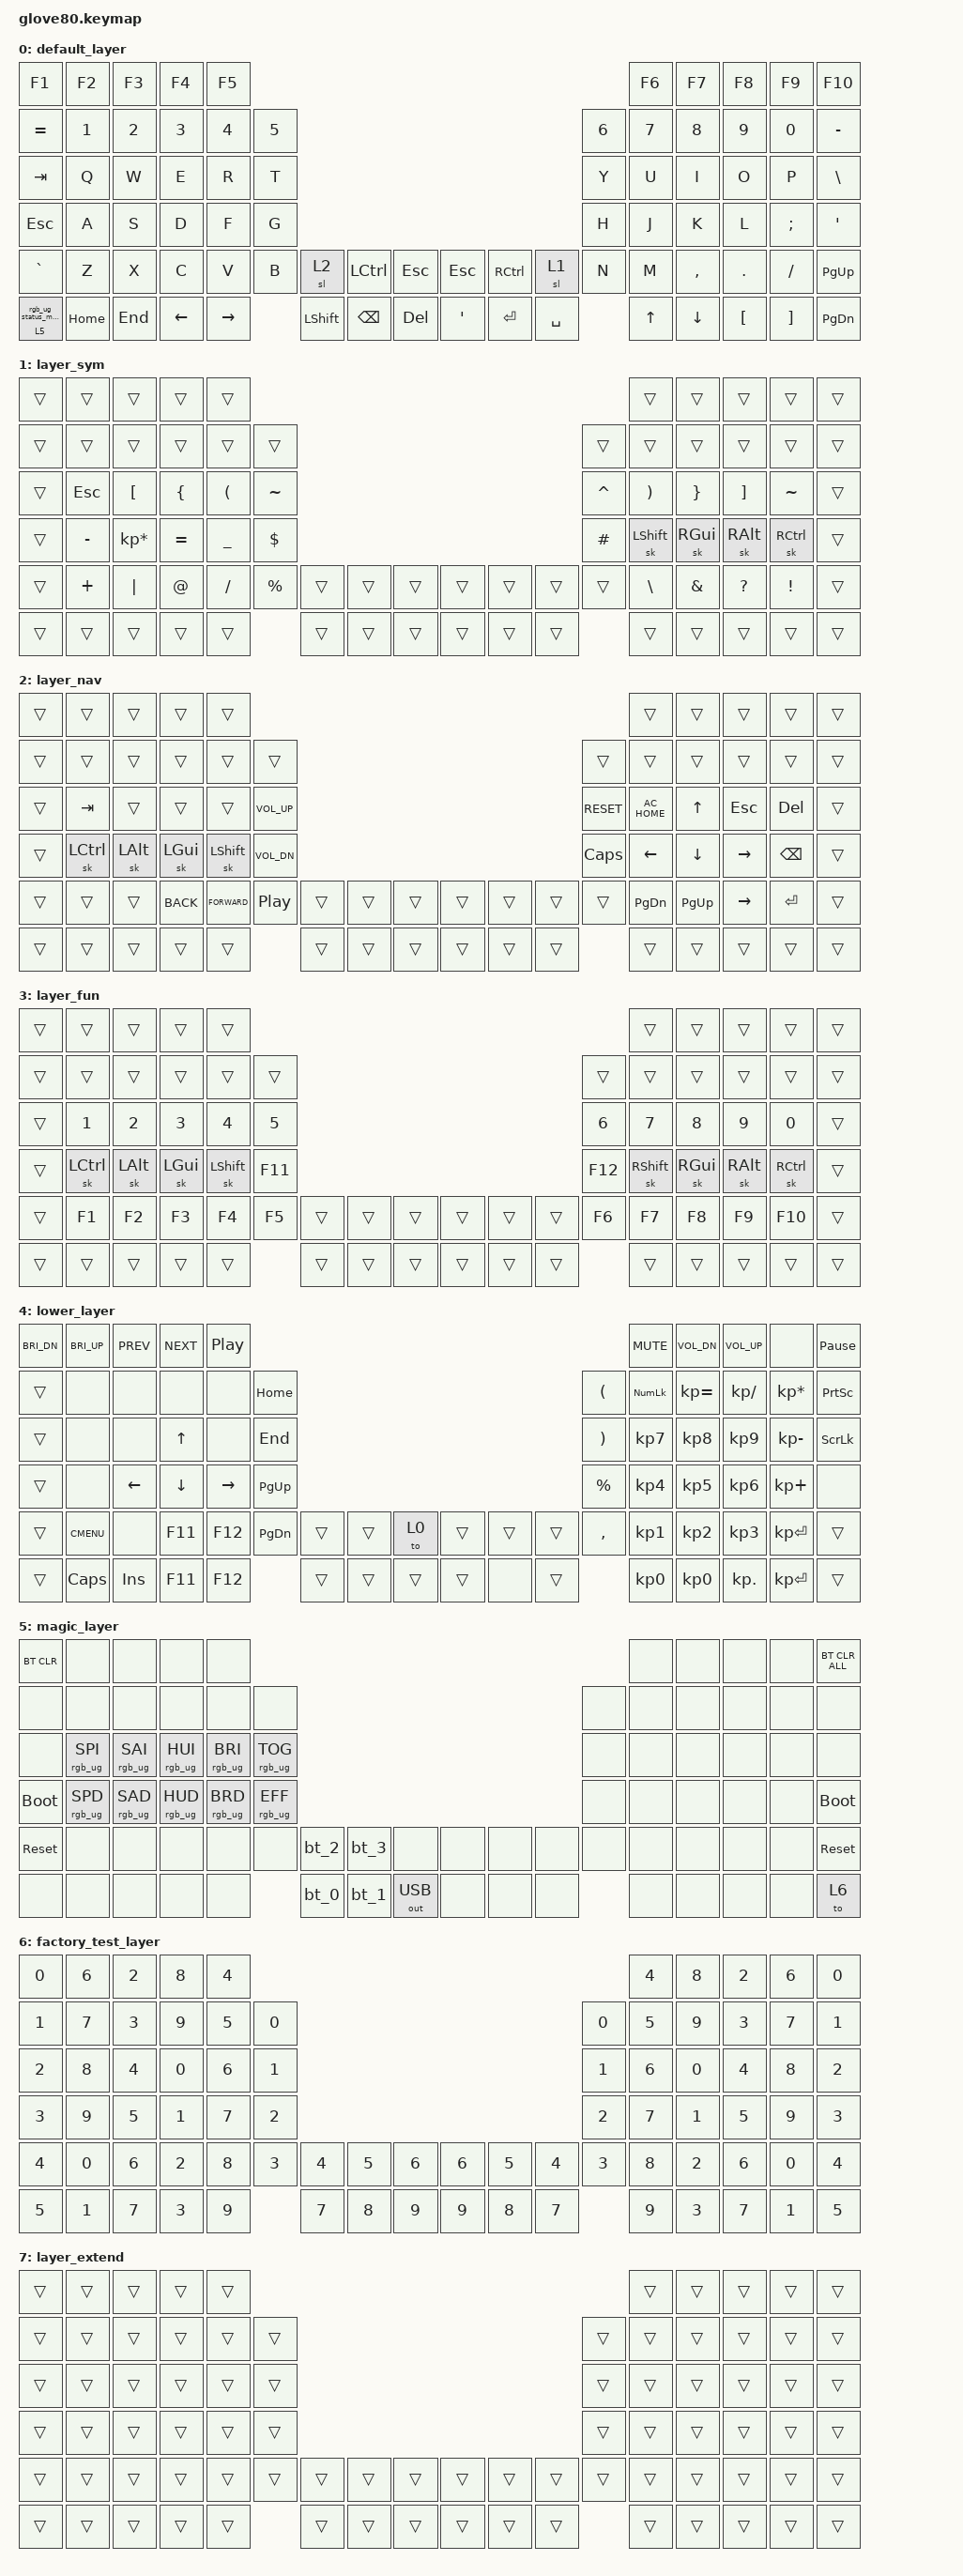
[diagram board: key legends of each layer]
/*
 * Copyright (c) 2020 The ZMK Contributors
 *
 * SPDX-License-Identifier: MIT
 */

#include <behaviors.dtsi>
#include <dt-bindings/zmk/bt.h>
#include <dt-bindings/zmk/keys.h>
#include <dt-bindings/zmk/outputs.h>
#include <dt-bindings/zmk/rgb.h>

#define HYPER LC(LS(LG(LALT)))

// layers

#define DEFAULT 0
#define LOWER 1
#define MAGIC 2
#define FACTORY_TEST 3

/ {
    behaviors {
        // For the "layer" key, it'd nice to be able to use it as either a shift or a toggle.
        // Configure it as a tap dance, so the first tap (or hold) is a &mo and the second tap is a &to

        magic: magic_hold_tap {
            compatible = "zmk,behavior-hold-tap";
            label = "MAGIC_HOLD_TAP";
            #binding-cells = <2>;
            flavor = "tap-preferred";
            tapping-term-ms = <200>;
            bindings = <&mo>, <&rgb_ug_status_macro>;
        };
    };

    macros {
        rgb_ug_status_macro: rgb_ug_status_macro_0 {
            label = "RGB_UG_STATUS";
            compatible = "zmk,behavior-macro";
            #binding-cells = <0>;
            bindings = <&rgb_ug RGB_STATUS>;
        };

        bt_0: bt_profile_macro_0 {
            label = "BT_0";
            compatible = "zmk,behavior-macro";
            #binding-cells = <0>;
            bindings = <&out OUT_BLE &bt BT_SEL 0>;
        };

        bt_1: bt_profile_macro_1 {
            label = "BT_1";
            compatible = "zmk,behavior-macro";
            #binding-cells = <0>;
            bindings = <&out OUT_BLE &bt BT_SEL 1>;
        };

        bt_2: bt_profile_macro_2 {
            label = "BT_2";
            compatible = "zmk,behavior-macro";
            #binding-cells = <0>;
            bindings = <&out OUT_BLE &bt BT_SEL 2>;
        };

        bt_3: bt_profile_macro_3 {
            label = "BT_3";
            compatible = "zmk,behavior-macro";
            #binding-cells = <0>;
            bindings = <&out OUT_BLE &bt BT_SEL 3>;
        };
    };

    keymap {
        compatible = "zmk,keymap";

        default_layer {
            // ---------------------------------------------------------------------------------------------------------------------------------
            // |  F1   |  F2 |  F3 |  F4  |  F5  |                                                               |  F6   |  F7   |  F8  |   F9  |  F10 |
            // |  =    |  1  |  2  |  3   |  4   |  5   |                                                 |  6   |   7   |   8   |  9   |   0   |   -  |
            // |  TAB  |  Q  |  W  |  E   |  R   |  T   |                                                 |  Y   |   U   |   I   |  O   |   P   |   \  |
            // |  ESC  |  A  |  S  |  D   |  F   |  G   |                                                 |  H   |   J   |   K   |  L   |   ;   |   '  |
            // |   `   |  Z  |  X  |  C   |  V   |  B   | LSHFT | LCTRL | LOWER | | LGUI  | RCTRL | RSHFT |  N   |   M   |   ,   |  .   |   /   | PGUP |
            // | MAGIC | HOME| END | LEFT | RIGHT|      | BSPC  | DEL   | LALT  | | RALT  | RET   | SPACE |      |  UP   | DOWN  |  [   |   ]   | PGDN |

            bindings = <
&kp F1      &kp F2    &kp F3   &kp F4    &kp F5                                                                                                        &kp F6  &kp F7     &kp F8    &kp F9    &kp F10
&kp EQUAL   &kp N1    &kp N2   &kp N3    &kp N4     &kp N5                                                                                     &kp N6  &kp N7  &kp N8     &kp N9    &kp N0    &kp MINUS
&kp TAB     &kp Q     &kp W    &kp E     &kp R      &kp T                                                                                      &kp Y   &kp U   &kp I      &kp O     &kp P     &kp BSLH
&kp ESC     &kp A     &kp S    &kp D     &kp F      &kp G                                                                                      &kp H   &kp J   &kp K      &kp L     &kp SEMI  &kp SQT
&kp GRAVE   &kp Z     &kp X    &kp C     &kp V      &kp B   &sl 2           &kp LCTRL      &kp ESC     &kp ESCAPE        &kp RCTRL  &sl 1      &kp N   &kp M   &kp COMMA  &kp DOT   &kp FSLH  &kp PG_UP
&magic 5 0  &kp HOME  &kp END  &kp LEFT  &kp RIGHT          &kp LEFT_SHIFT  &kp BACKSPACE  &kp DELETE  &kp SINGLE_QUOTE  &kp ENTER  &kp SPACE          &kp UP  &kp DOWN   &kp LBKT  &kp RBKT  &kp PG_DN
            >;
        };

        layer_sym {
            bindings = <
&trans  &trans     &trans            &trans          &trans                                                                                        &trans                 &trans           &trans             &trans             &trans
&trans  &trans     &trans            &trans          &trans                &trans                                                       &trans     &trans                 &trans           &trans             &trans             &trans
&trans  &kp ESC    &kp LEFT_BRACKET  &kp LEFT_BRACE  &kp LEFT_PARENTHESIS  &kp TILDE                                                    &kp CARET  &kp RIGHT_PARENTHESIS  &kp RIGHT_BRACE  &kp RIGHT_BRACKET  &kp TILDE          &trans
&trans  &kp MINUS  &kp KP_ASTERISK   &kp EQUAL       &kp UNDER             &kp DOLLAR                                                   &kp HASH   &sk LSHFT              &sk RGUI         &sk RIGHT_ALT      &sk RIGHT_CONTROL  &trans
&trans  &kp PLUS   &kp PIPE          &kp AT          &kp SLASH             &kp PERCENT  &trans  &trans  &trans  &trans  &trans  &trans  &trans     &kp BACKSLASH          &kp AMPS         &kp QUESTION       &kp EXCL           &trans
&trans  &trans     &trans            &trans          &trans                             &trans  &trans  &trans  &trans  &trans  &trans             &trans                 &trans           &trans             &trans             &trans
            >;
        };

        layer_nav {
            bindings = <
&trans  &trans            &trans        &trans        &trans                                                                                          &trans         &trans        &trans      &trans         &trans
&trans  &trans            &trans        &trans        &trans          &trans                                                            &trans        &trans         &trans        &trans      &trans         &trans
&trans  &kp TAB           &trans        &trans        &trans          &kp C_VOLUME_UP                                                   &kp C_RESET   &kp C_AC_HOME  &kp UP_ARROW  &kp ESCAPE  &kp DELETE     &trans
&trans  &sk LEFT_CONTROL  &sk LEFT_ALT  &sk LEFT_GUI  &sk LEFT_SHIFT  &kp C_VOL_DN                                                      &kp CAPSLOCK  &kp LEFT       &kp DOWN      &kp RIGHT   &kp BACKSPACE  &trans
&trans  &trans            &trans        &kp K_BACK    &kp K_FORWARD   &kp C_PLAY_PAUSE  &trans  &trans  &trans  &trans  &trans  &trans  &trans        &kp PAGE_DOWN  &kp PAGE_UP   &kp RIGHT   &kp ENTER      &trans
&trans  &trans            &trans        &trans        &trans                            &trans  &trans  &trans  &trans  &trans  &trans                &trans         &trans        &trans      &trans         &trans
            >;
        };

        layer_fun {
            bindings = <
&trans  &trans            &trans        &trans        &trans                                                                               &trans      &trans    &trans         &trans             &trans
&trans  &trans            &trans        &trans        &trans        &trans                                                   &trans        &trans      &trans    &trans         &trans             &trans
&trans  &kp NUMBER_1      &kp NUMBER_2  &kp NUMBER_3  &kp NUMBER_4  &kp N5                                                   &kp NUMBER_6  &kp N7      &kp N8    &kp N9         &kp N0             &trans
&trans  &sk LEFT_CONTROL  &sk LEFT_ALT  &sk LGUI      &sk LSHFT     &kp F11                                                  &kp F12       &sk RSHIFT  &sk RGUI  &sk RIGHT_ALT  &sk RIGHT_CONTROL  &trans
&trans  &kp F1            &kp F2        &kp F3        &kp F4        &kp F5   &trans  &trans  &trans  &trans  &trans  &trans  &kp F6        &kp F7      &kp F8    &kp F9         &kp F10            &trans
&trans  &trans            &trans        &trans        &trans                 &trans  &trans  &trans  &trans  &trans  &trans                &trans      &trans    &trans         &trans             &trans
            >;
        };

        lower_layer {
            bindings = <
&kp C_BRI_DN  &kp C_BRI_UP  &kp C_PREV  &kp C_NEXT  &kp C_PP                                                                         &kp C_MUTE  &kp C_VOL_DN  &kp C_VOL_UP   &none            &kp PAUSE_BREAK
&trans        &none         &none       &none       &none      &kp HOME                                                   &kp LPAR   &kp KP_NUM  &kp KP_EQUAL  &kp KP_DIVIDE  &kp KP_MULTIPLY  &kp PSCRN
&trans        &none         &none       &kp UP      &none      &kp END                                                    &kp RPAR   &kp KP_N7   &kp KP_N8     &kp KP_N9      &kp KP_MINUS     &kp SLCK
&trans        &none         &kp LEFT    &kp DOWN    &kp RIGHT  &kp PG_UP                                                  &kp PRCNT  &kp KP_N4   &kp KP_N5     &kp KP_N6      &kp KP_PLUS      &none
&trans        &kp K_CMENU   &none       &kp F11     &kp F12    &kp PG_DN  &trans  &trans  &to 0   &trans  &trans  &trans  &kp COMMA  &kp KP_N1   &kp KP_N2     &kp KP_N3      &kp KP_ENTER     &trans
&trans        &kp CAPS      &kp INS     &kp F11     &kp F12               &trans  &trans  &trans  &trans  &none   &trans             &kp KP_N0   &kp KP_N0     &kp KP_DOT     &kp KP_ENTER     &trans
            >;
        };

        magic_layer {
            bindings = <
&bt BT_CLR   &none            &none            &none            &none                                                                                     &none  &none  &none  &none  &bt BT_CLR_ALL
&none        &none            &none            &none            &none            &none                                                             &none  &none  &none  &none  &none  &none
&none        &rgb_ug RGB_SPI  &rgb_ug RGB_SAI  &rgb_ug RGB_HUI  &rgb_ug RGB_BRI  &rgb_ug RGB_TOG                                                   &none  &none  &none  &none  &none  &none
&bootloader  &rgb_ug RGB_SPD  &rgb_ug RGB_SAD  &rgb_ug RGB_HUD  &rgb_ug RGB_BRD  &rgb_ug RGB_EFF                                                   &none  &none  &none  &none  &none  &bootloader
&sys_reset   &none            &none            &none            &none            &none            &bt_2  &bt_3  &none         &none  &none  &none  &none  &none  &none  &none  &none  &sys_reset
&none        &none            &none            &none            &none                             &bt_0  &bt_1  &out OUT_USB  &none  &none  &none         &none  &none  &none  &none  &to 6
            >;
        };

        factory_test_layer {
            bindings = <
&kp N0  &kp N6  &kp N2  &kp N8  &kp N4                                                                  &kp N4  &kp N8  &kp N2  &kp N6  &kp N0
&kp N1  &kp N7  &kp N3  &kp N9  &kp N5  &kp N0                                                  &kp N0  &kp N5  &kp N9  &kp N3  &kp N7  &kp N1
&kp N2  &kp N8  &kp N4  &kp N0  &kp N6  &kp N1                                                  &kp N1  &kp N6  &kp N0  &kp N4  &kp N8  &kp N2
&kp N3  &kp N9  &kp N5  &kp N1  &kp N7  &kp N2                                                  &kp N2  &kp N7  &kp N1  &kp N5  &kp N9  &kp N3
&kp N4  &kp N0  &kp N6  &kp N2  &kp N8  &kp N3  &kp N4  &kp N5  &kp N6  &kp N6  &kp N5  &kp N4  &kp N3  &kp N8  &kp N2  &kp N6  &kp N0  &kp N4
&kp N5  &kp N1  &kp N7  &kp N3  &kp N9          &kp N7  &kp N8  &kp N9  &kp N9  &kp N8  &kp N7          &kp N9  &kp N3  &kp N7  &kp N1  &kp N5
            >;
        };

        layer_extend {
            bindings = <
&trans  &trans  &trans  &trans  &trans                                                                  &trans  &trans  &trans  &trans  &trans
&trans  &trans  &trans  &trans  &trans  &trans                                                  &trans  &trans  &trans  &trans  &trans  &trans
&trans  &trans  &trans  &trans  &trans  &trans                                                  &trans  &trans  &trans  &trans  &trans  &trans
&trans  &trans  &trans  &trans  &trans  &trans                                                  &trans  &trans  &trans  &trans  &trans  &trans
&trans  &trans  &trans  &trans  &trans  &trans  &trans  &trans  &trans  &trans  &trans  &trans  &trans  &trans  &trans  &trans  &trans  &trans
&trans  &trans  &trans  &trans  &trans          &trans  &trans  &trans  &trans  &trans  &trans          &trans  &trans  &trans  &trans  &trans
            >;
        };
    };

    conditional_layers {
        compatible = "zmk,conditional-layers";

        ns_fun {
            if-layers = <2 1>;
            then-layer = <3>;
        };
    };
};
